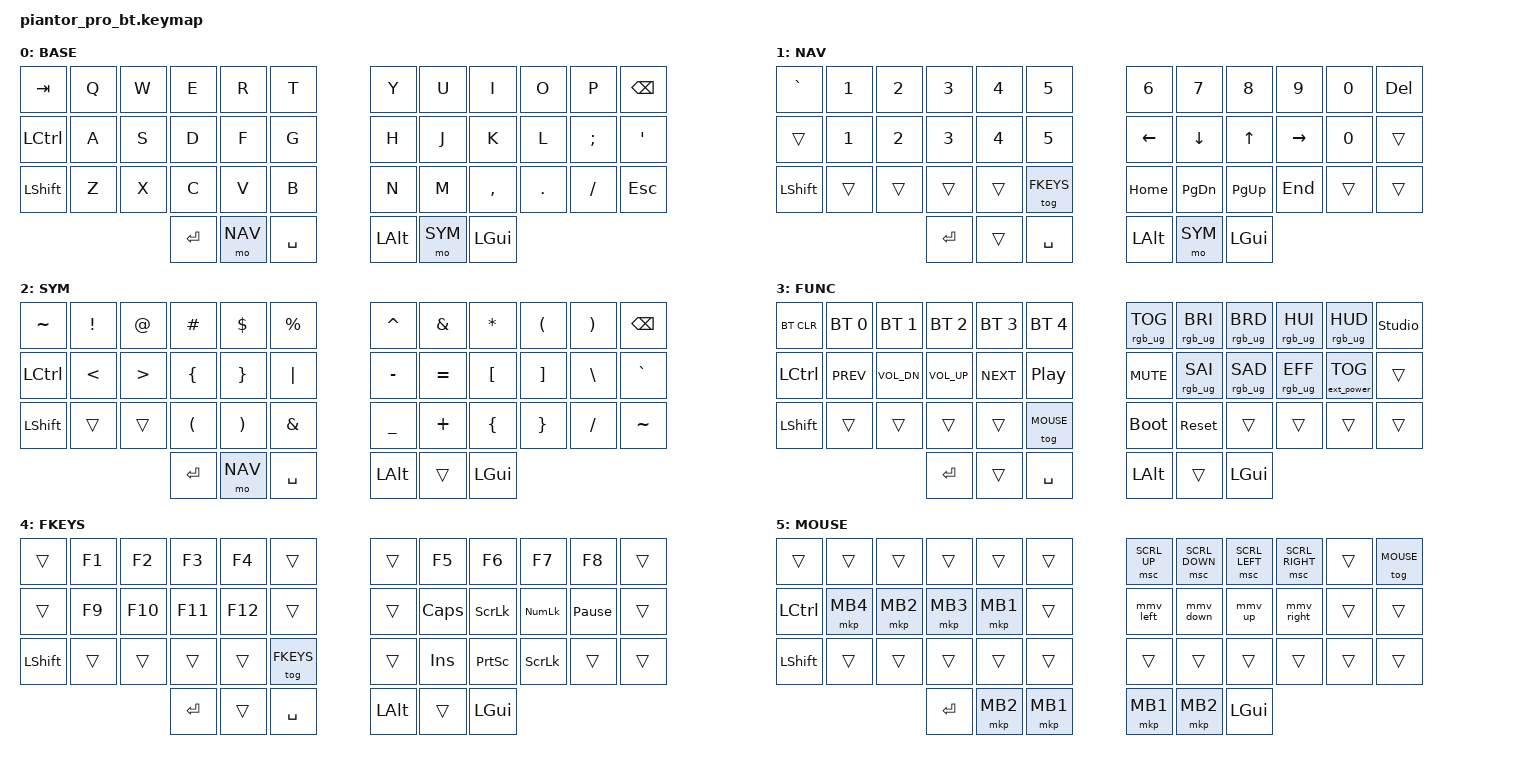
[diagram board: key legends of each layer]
#include <behaviors.dtsi>
#include <dt-bindings/zmk/keys.h>
#include <dt-bindings/zmk/bt.h>
#include <dt-bindings/zmk/rgb.h>
#include <dt-bindings/zmk/mouse.h>
#include <dt-bindings/zmk/ext_power.h>

/* Layer Definitions */
#define BASE  0
#define NAV   1
#define SYM   2
#define FUNC  3
#define FKEYS 4
#define MOUSE 5

/ {
    chosen {
        zmk,physical-layout = &default_layout;
    };
};

/ {
    behaviors {
        // Mouse move with shift = 2x speed
        mmv_left: mouse_move_left {
            compatible = "zmk,behavior-mod-morph";
            #binding-cells = <0>;
            bindings = <&mmv MOVE_X(-600)>, <&mmv MOVE_X(-1200)>;
            mods = <(MOD_LSFT|MOD_RSFT)>;
        };
        mmv_down: mouse_move_down {
            compatible = "zmk,behavior-mod-morph";
            #binding-cells = <0>;
            bindings = <&mmv MOVE_Y(600)>, <&mmv MOVE_Y(1200)>;
            mods = <(MOD_LSFT|MOD_RSFT)>;
        };
        mmv_up: mouse_move_up {
            compatible = "zmk,behavior-mod-morph";
            #binding-cells = <0>;
            bindings = <&mmv MOVE_Y(-600)>, <&mmv MOVE_Y(-1200)>;
            mods = <(MOD_LSFT|MOD_RSFT)>;
        };
        mmv_right: mouse_move_right {
            compatible = "zmk,behavior-mod-morph";
            #binding-cells = <0>;
            bindings = <&mmv MOVE_X(600)>, <&mmv MOVE_X(1200)>;
            mods = <(MOD_LSFT|MOD_RSFT)>;
        };
    };

    conditional_layers {
        compatible = "zmk,conditional-layers";
        func_layer {
            if-layers = <NAV SYM>;
            then-layer = <FUNC>;
        };
    };

    keymap {
        compatible = "zmk,keymap";

        /* BASE: Default QWERTY
         * ┌─────┬─────┬─────┬─────┬─────┬─────┐   ┌─────┬─────┬─────┬─────┬─────┬─────┐
         * │ TAB │  Q  │  W  │  E  │  R  │  T  │   │  Y  │  U  │  I  │  O  │  P  │BSPC │
         * ├─────┼─────┼─────┼─────┼─────┼─────┤   ├─────┼─────┼─────┼─────┼─────┼─────┤
         * │CTRL │  A  │  S  │  D  │  F  │  G  │   │  H  │  J  │  K  │  L  │  ;  │  '  │
         * ├─────┼─────┼─────┼─────┼─────┼─────┤   ├─────┼─────┼─────┼─────┼─────┼─────┤
         * │SHIFT│  Z  │  X  │  C  │  V  │  B  │   │  N  │  M  │  ,  │  .  │  /  │ ESC │
         * └─────┴─────┴─────┼─────┼─────┼─────┤   ├─────┼─────┼─────┼─────┴─────┴─────┘
         *                   │ENTER│ NAV │SPACE│   │ ALT │ SYM │ CMD │
         *                   └─────┴─────┴─────┘   └─────┴─────┴─────┘
         */
        default_layer {
            display-name = "BASE";
            bindings = <
                &kp TAB   &kp Q &kp W &kp E &kp R &kp T     &kp Y    &kp U  &kp I     &kp O   &kp P    &kp BSPC
                &kp LCTRL &kp A &kp S &kp D &kp F &kp G     &kp H    &kp J  &kp K     &kp L   &kp SEMI &kp SQT
                &kp LSHFT &kp Z &kp X &kp C &kp V &kp B     &kp N    &kp M  &kp COMMA &kp DOT &kp FSLH &kp ESC
                                &kp RET &mo NAV &kp SPACE   &kp LALT &mo SYM &kp LGUI
            >;
        };

        /* NAV: Numbers + Navigation
         * ┌─────┬─────┬─────┬─────┬─────┬─────┐   ┌─────┬─────┬─────┬─────┬─────┬─────┐
         * │  `  │  1  │  2  │  3  │  4  │  5  │   │  6  │  7  │  8  │  9  │  0  │ DEL │
         * ├─────┼─────┼─────┼─────┼─────┼─────┤   ├─────┼─────┼─────┼─────┼─────┼─────┤
         * │     │  1  │  2  │  3  │  4  │  5  │   │  ←  │  ↓  │  ↑  │  →  │  0  │     │
         * ├─────┼─────┼─────┼─────┼─────┼─────┤   ├─────┼─────┼─────┼─────┼─────┼─────┤
         * │SHIFT│     │     │     │     │FKEYS│   │HOME │PGDN │PGUP │ END │     │     │
         * └─────┴─────┴─────┼─────┼─────┼─────┤   ├─────┼─────┼─────┼─────┴─────┴─────┘
         *                   │ENTER│ ### │SPACE│   │ ALT │ SYM │ CMD │
         *                   └─────┴─────┴─────┘   └─────┴─────┴─────┘
         */
        nav_layer {
            display-name = "NAV";
            bindings = <
                &kp GRAVE &kp N1 &kp N2 &kp N3 &kp N4 &kp N5       &kp N6   &kp N7    &kp N8    &kp N9    &kp N0 &kp DEL
                &trans    &kp N1 &kp N2 &kp N3 &kp N4 &kp N5       &kp LEFT &kp DOWN  &kp UP    &kp RIGHT &kp N0 &trans
                &kp LSHFT &trans &trans &trans &trans &tog FKEYS   &kp HOME &kp PG_DN &kp PG_UP &kp END   &trans &trans
                                    &kp RET &trans &kp SPACE       &kp LALT &mo SYM &kp LGUI
            >;
        };

        /* SYM: Symbols
         * ┌─────┬─────┬─────┬─────┬─────┬─────┐   ┌─────┬─────┬─────┬─────┬─────┬─────┐
         * │  ~  │  !  │  @  │  #  │  $  │  %  │   │  ^  │  &  │  *  │  (  │  )  │BSPC │
         * ├─────┼─────┼─────┼─────┼─────┼─────┤   ├─────┼─────┼─────┼─────┼─────┼─────┤
         * │CTRL │  <  │  >  │  {  │  }  │  |  │   │  -  │  =  │  [  │  ]  │  \  │  `  │
         * ├─────┼─────┼─────┼─────┼─────┼─────┤   ├─────┼─────┼─────┼─────┼─────┼─────┤
         * │SHIFT│     │     │  (  │  )  │  &  │   │  _  │  +  │  {  │  }  │  /  │  ~  │
         * └─────┴─────┴─────┼─────┼─────┼─────┤   ├─────┼─────┼─────┼─────┴─────┴─────┘
         *                   │ENTER│ NAV │SPACE│   │ ALT │ ### │ CMD │
         *                   └─────┴─────┴─────┘   └─────┴─────┴─────┘
         */
        sym_layer {
            display-name = "SYM";
            bindings = <
                &kp TILDE &kp EXCL &kp AT &kp HASH &kp DLLR &kp PRCNT   &kp CARET &kp AMPS  &kp ASTRK &kp LPAR &kp RPAR &kp BSPC
                &kp LCTRL &kp LT   &kp GT &kp LBRC &kp RBRC &kp PIPE    &kp MINUS &kp EQUAL &kp LBKT  &kp RBKT &kp BSLH &kp GRAVE
                &kp LSHFT &trans   &trans &kp LPAR &kp RPAR &kp AMPS    &kp UNDER &kp PLUS  &kp LBRC  &kp RBRC &kp FSLH &kp TILDE
                                        &kp RET &mo NAV &kp SPACE       &kp LALT &trans &kp LGUI
            >;
        };

        /* FUNC: Bluetooth, Media, RGB (NAV+SYM)
         * ┌─────┬─────┬─────┬─────┬─────┬─────┐   ┌─────┬─────┬─────┬─────┬─────┬─────┐
         * │BTCLR│ BT1 │ BT2 │ BT3 │ BT4 │ BT5 │   │ RGB │BRI+ │BRI- │HUE+ │HUE- │UNLCK│
         * ├─────┼─────┼─────┼─────┼─────┼─────┤   ├─────┼─────┼─────┼─────┼─────┼─────┤
         * │CTRL │ ⏮  │VOL- │VOL+ │ ⏭  │ ⏯  │   │MUTE │SAT+ │SAT- │ EFF │ PWR │     │
         * ├─────┼─────┼─────┼─────┼─────┼─────┤   ├─────┼─────┼─────┼─────┼─────┼─────┤
         * │SHIFT│     │     │     │     │MOUSE│   │BOOT │RESET│     │     │     │     │
         * └─────┴─────┴─────┼─────┼─────┼─────┤   ├─────┼─────┼─────┼─────┴─────┴─────┘
         *                   │ENTER│ ### │SPACE│   │ ALT │ ### │ CMD │
         *                   └─────┴─────┴─────┘   └─────┴─────┴─────┘
         */
        func_layer {
            display-name = "FUNC";
            bindings = <
                &bt BT_CLR &bt BT_SEL 0  &bt BT_SEL 1  &bt BT_SEL 2  &bt BT_SEL 3  &bt BT_SEL 4    &rgb_ug RGB_TOG &rgb_ug RGB_BRI &rgb_ug RGB_BRD &rgb_ug RGB_HUI &rgb_ug RGB_HUD &studio_unlock
                &kp LCTRL  &kp C_PREV    &kp C_VOL_DN  &kp C_VOL_UP  &kp C_NEXT    &kp C_PP        &kp C_MUTE      &rgb_ug RGB_SAI &rgb_ug RGB_SAD &rgb_ug RGB_EFF &ext_power EP_TOG &trans
                &kp LSHFT  &trans        &trans        &trans        &trans        &tog MOUSE      &bootloader     &sys_reset      &trans          &trans          &trans            &trans
                                                            &kp RET &trans &kp SPACE               &kp LALT &trans &kp LGUI
            >;
        };

        /* FKEYS: Function Keys (Toggle)
         * ┌─────┬─────┬─────┬─────┬─────┬─────┐   ┌─────┬─────┬─────┬─────┬─────┬─────┐
         * │     │ F1  │ F2  │ F3  │ F4  │     │   │     │ F5  │ F6  │ F7  │ F8  │     │
         * ├─────┼─────┼─────┼─────┼─────┼─────┤   ├─────┼─────┼─────┼─────┼─────┼─────┤
         * │     │ F9  │ F10 │ F11 │ F12 │     │   │     │CAPS │SCRLK│NUMLK│PAUSE│     │
         * ├─────┼─────┼─────┼─────┼─────┼─────┤   ├─────┼─────┼─────┼─────┼─────┼─────┤
         * │SHIFT│     │     │     │     │EXIT │   │     │ INS │PSCRN│SCRLK│     │     │
         * └─────┴─────┴─────┼─────┼─────┼─────┤   ├─────┼─────┼─────┼─────┴─────┴─────┘
         *                   │ENTER│     │SPACE│   │ ALT │     │ CMD │
         *                   └─────┴─────┴─────┘   └─────┴─────┴─────┘
         */
        fkeys_layer {
            display-name = "FKEYS";
            bindings = <
                &trans    &kp F1 &kp F2  &kp F3  &kp F4  &trans        &trans   &kp F5   &kp F6    &kp F7      &kp F8          &trans
                &trans    &kp F9 &kp F10 &kp F11 &kp F12 &trans        &trans   &kp CAPS &kp SLCK  &kp KP_NLCK &kp PAUSE_BREAK &trans
                &kp LSHFT &trans &trans  &trans  &trans  &tog FKEYS    &trans   &kp INS  &kp PSCRN &kp SLCK    &trans          &trans
                                      &kp RET &trans &kp SPACE         &kp LALT &trans &kp LGUI
            >;
        };

        /* MOUSE: Mouse Keys (Toggle) - Hold SHIFT for 2x speed
         * ┌─────┬─────┬─────┬─────┬─────┬─────┐   ┌─────┬─────┬─────┬─────┬─────┬─────┐
         * │     │     │     │     │     │     │   │SCR↑ │SCR↓ │SCR← │SCR→ │     │EXIT │
         * ├─────┼─────┼─────┼─────┼─────┼─────┤   ├─────┼─────┼─────┼─────┼─────┼─────┤
         * │CTRL │ MB4 │ MB2 │ MB3 │ MB1 │     │   │  ←  │  ↓  │  ↑  │  →  │     │     │
         * ├─────┼─────┼─────┼─────┼─────┼─────┤   ├─────┼─────┼─────┼─────┼─────┼─────┤
         * │SHIFT│     │     │     │     │     │   │     │     │     │     │     │     │
         * └─────┴─────┴─────┼─────┼─────┼─────┤   ├─────┼─────┼─────┼─────┴─────┴─────┘
         *                   │ENTER│ MB2 │ MB1 │   │ MB1 │ MB2 │ CMD │
         *                   └─────┴─────┴─────┘   └─────┴─────┴─────┘
         */
        mouse_layer {
            display-name = "MOUSE";
            bindings = <
                &trans    &trans   &trans   &trans   &trans   &trans   &msc SCRL_UP &msc SCRL_DOWN &msc SCRL_LEFT &msc SCRL_RIGHT &trans &tog MOUSE
                &kp LCTRL &mkp MB4 &mkp MB2 &mkp MB3 &mkp MB1 &trans   &mmv_left &mmv_down &mmv_up   &mmv_right &trans &trans
                &kp LSHFT &trans   &trans   &trans   &trans   &trans   &trans    &trans    &trans    &trans     &trans &trans
                                            &kp RET &mkp MB2 &mkp MB1   &mkp MB1 &mkp MB2 &kp LGUI
            >;
        };
    };
};
